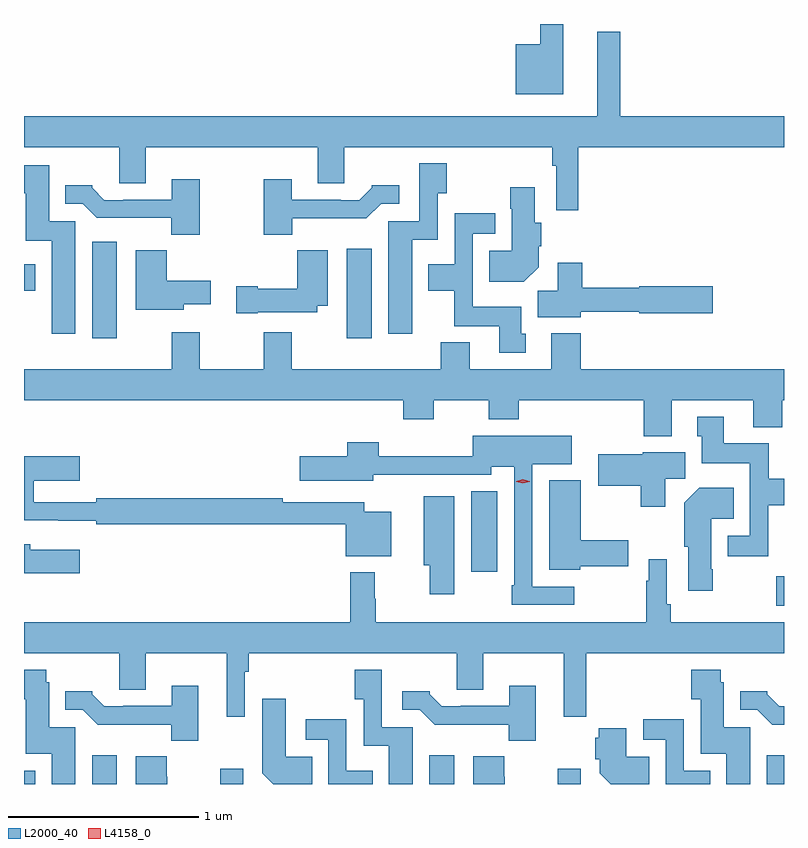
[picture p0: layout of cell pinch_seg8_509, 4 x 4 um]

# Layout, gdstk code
import gdstk
lib = gdstk.Library(unit=1e-6, precision=1e-09)
def R(c, l, rs):  # rectangles x0, y0, x1, y1
    for r in rs: c.add(gdstk.rectangle(r[:2], r[2:], *l))
def P(c, l, *ps):  # polygons
    for p in ps: c.add(gdstk.Polygon(p, *l))
L2000_40 = (2000, 40)
L4158_0 = (4158, 0)

pinch_seg8_509 = lib.new_cell('pinch_seg8_509')
R(pinch_seg8_509, L2000_40, [(217.609,1121.141,217.669,1121.212), (217.967,1121.141,218.098,1121.293), (218.642,1121.141,218.764,1121.221), (219.743,1121.141,219.874,1121.293), (220.418,1121.141,220.54,1121.221), (221.519,1121.141,221.609,1121.293), (221.569,1122.078,221.609,1122.234), (219.962,1122.258,220.099,1122.683), (217.967,1123.488,218.098,1123.996), (219.308,1123.488,219.439,1123.957), (217.609,1123.736,217.669,1123.876)])
P(pinch_seg8_509, L2000_40, [(220.447,1125.141),(220.326,1125.141),(220.326,1125.034),(220.196,1125.034),(220.196,1124.771),(220.447,1124.771)],
  [(220.526,1124.492),(221.609,1124.492),(221.609,1124.656),(220.747,1124.656),(220.747,1125.1),(220.625,1125.1),(220.625,1124.656),(217.609,1124.656),(217.609,1124.492),(218.111,1124.492),(218.111,1124.302),(218.251,1124.302),(218.251,1124.492),(219.155,1124.492),(219.155,1124.302),(219.295,1124.302),(219.295,1124.492),(220.39,1124.492),(220.39,1124.396),(220.41,1124.396),(220.41,1124.16),(220.526,1124.16)],
  [(219.652,1124.006),(219.786,1124.006),(219.786,1124.251),(219.834,1124.251),(219.834,1124.407),(219.69,1124.407),(219.69,1124.103),(219.527,1124.103),(219.527,1123.512),(219.652,1123.512)],
  [(217.879,1124.103),(217.741,1124.103),(217.741,1124.398),(217.609,1124.398),(217.609,1124.251),(217.619,1124.251),(217.619,1124),(217.754,1124),(217.754,1123.512),(217.879,1123.512)],
  [(218.535,1124.323),(218.387,1124.323),(218.387,1124.217),(218.131,1124.217),(218.131,1124.214),(218.032,1124.214),(217.968,1124.278),(217.968,1124.293),(217.826,1124.293),(217.826,1124.196),(217.917,1124.196),(217.993,1124.12),(218.385,1124.12),(218.385,1124.033),(218.535,1124.033)],
  [(219.022,1124.118),(219.411,1124.118),(219.489,1124.196),(219.583,1124.196),(219.583,1124.293),(219.438,1124.293),(219.438,1124.278),(219.374,1124.214),(219.275,1124.214),(219.275,1124.217),(219.019,1124.217),(219.019,1124.323),(218.872,1124.323),(218.872,1124.033),(219.022,1124.033)],
  [(220.318,1123.862),(220.318,1123.972),(220.331,1123.972),(220.331,1124.094),(220.297,1124.094),(220.297,1124.281),(220.168,1124.281),(220.168,1124.168),(220.175,1124.168),(220.175,1123.948),(220.057,1123.948),(220.057,1123.784),(220.24,1123.784)],
  [(220.249,1123.512),(220.225,1123.512),(220.225,1123.654),(219.972,1123.654),(219.972,1124.037),(220.09,1124.037),(220.09,1124.146),(219.876,1124.146),(219.876,1123.876),(219.737,1123.876),(219.737,1123.736),(219.874,1123.736),(219.874,1123.55),(220.109,1123.55),(220.109,1123.41),(220.249,1123.41)],
  [(218.839,1123.625),(219.153,1123.625),(219.153,1123.658),(219.208,1123.658),(219.208,1123.951),(219.046,1123.951),(219.046,1123.747),(218.839,1123.747),(218.839,1123.76),(218.727,1123.76),(218.727,1123.618),(218.839,1123.618)],
  [(218.449,1123.667),(218.593,1123.667),(218.593,1123.789),(218.36,1123.789),(218.36,1123.951),(218.198,1123.951),(218.198,1123.637),(218.449,1123.637)],
  [(220.54,1123.626),(220.848,1123.626),(220.848,1123.618),(221.233,1123.618),(221.233,1123.76),(220.848,1123.76),(220.848,1123.754),(220.548,1123.754),(220.548,1123.885),(220.418,1123.885),(220.418,1123.736),(220.313,1123.736),(220.313,1123.598),(220.54,1123.598)],
  [(221.017,1123.16),(221.447,1123.16),(221.447,1123.019),(221.6,1123.019),(221.6,1123.16),(221.609,1123.16),(221.609,1123.324),(220.538,1123.324),(220.538,1123.513),(220.385,1123.513),(220.385,1123.324),(219.955,1123.324),(219.955,1123.465),(219.803,1123.465),(219.803,1123.324),(219.019,1123.324),(219.019,1123.519),(218.872,1123.519),(218.872,1123.324),(218.535,1123.324),(218.535,1123.519),(218.387,1123.519),(218.387,1123.324),(217.609,1123.324),(217.609,1123.16),(219.605,1123.16),(219.605,1123.061),(219.765,1123.061),(219.765,1123.16),(220.054,1123.16),(220.054,1123.061),(220.214,1123.061),(220.214,1123.16),(220.87,1123.16),(220.87,1122.971),(221.017,1122.971)],
  [(221.526,1122.608),(221.609,1122.608),(221.609,1122.748),(221.529,1122.748),(221.529,1122.934),(221.293,1122.934),(221.293,1123.075),(221.153,1123.075),(221.153,1122.972),(221.177,1122.972),(221.177,1122.83),(221.43,1122.83),(221.43,1122.447),(221.313,1122.447),(221.313,1122.339),(221.526,1122.339)],
  [(220.504,1122.18),(220.284,1122.18),(220.284,1122.824),(220.492,1122.824),(220.492,1122.973),(219.972,1122.973),(219.972,1122.866),(219.476,1122.866),(219.476,1122.94),(219.311,1122.94),(219.311,1122.867),(219.06,1122.867),(219.06,1122.737),(219.448,1122.737),(219.448,1122.768),(220.068,1122.768),(220.068,1122.812),(220.188,1122.812),(220.188,1122.187),(220.176,1122.187),(220.176,1122.084),(220.504,1122.084)],
  [(220.984,1122.748),(221.089,1122.748),(221.089,1122.886),(220.866,1122.886),(220.866,1122.877),(220.632,1122.877),(220.632,1122.712),(220.855,1122.712),(220.855,1122.6),(220.984,1122.6)],
  [(219.541,1122.574),(219.399,1122.574),(219.399,1122.624),(218.972,1122.624),(218.972,1122.644),(217.99,1122.644),(217.99,1122.624),(217.661,1122.624),(217.661,1122.737),(217.903,1122.737),(217.903,1122.867),(217.609,1122.867),(217.609,1122.528),(217.79,1122.528),(217.79,1122.527),(217.99,1122.527),(217.99,1122.508),(219.303,1122.508),(219.303,1122.341),(219.541,1122.341)],
  [(220.536,1122.286),(220.789,1122.286),(220.789,1122.423),(220.54,1122.423),(220.54,1122.739),(220.373,1122.739),(220.373,1122.269),(220.536,1122.269)],
  [(221.235,1122.271),(221.227,1122.271),(221.227,1122.536),(221.345,1122.536),(221.345,1122.7),(221.162,1122.7),(221.084,1122.622),(221.084,1122.39),(221.105,1122.39),(221.105,1122.159),(221.235,1122.159)],
  [(219.874,1122.655),(219.713,1122.655),(219.713,1122.293),(219.745,1122.293),(219.745,1122.141),(219.874,1122.141)],
  [(217.903,1122.373),(217.642,1122.373),(217.642,1122.402),(217.609,1122.402),(217.609,1122.251),(217.903,1122.251)],
  [(218.772,1121.732),(218.792,1121.732),(218.792,1121.828),(219.887,1121.828),(219.887,1121.638),(220.027,1121.638),(220.027,1121.828),(220.451,1121.828),(220.451,1121.496),(220.568,1121.496),(220.568,1121.828),(221.609,1121.828),(221.609,1121.992),(221.012,1121.992),(221.012,1122.088),(220.992,1122.088),(220.992,1122.325),(220.896,1122.325),(220.896,1122.212),(220.884,1122.212),(220.884,1121.992),(219.461,1121.992),(219.461,1122.116),(219.454,1122.116),(219.454,1122.256),(219.325,1122.256),(219.325,1121.992),(217.609,1121.992),(217.609,1121.828),(218.111,1121.828),(218.111,1121.638),(218.251,1121.638),(218.251,1121.828),(218.675,1121.828),(218.675,1121.496),(218.772,1121.496)],
  [(217.879,1121.439),(217.741,1121.439),(217.741,1121.676),(217.725,1121.676),(217.725,1121.743),(217.609,1121.743),(217.609,1121.587),(217.619,1121.587),(217.619,1121.3),(217.754,1121.3),(217.754,1121.141),(217.879,1121.141)],
  [(219.655,1121.439),(219.492,1121.439),(219.492,1121.743),(219.349,1121.743),(219.349,1121.587),(219.396,1121.587),(219.396,1121.342),(219.53,1121.342),(219.53,1121.141),(219.655,1121.141)],
  [(221.431,1121.439),(221.293,1121.439),(221.293,1121.676),(221.277,1121.676),(221.277,1121.743),(221.12,1121.743),(221.12,1121.587),(221.171,1121.587),(221.171,1121.3),(221.306,1121.3),(221.306,1121.141),(221.431,1121.141)],
  [(218.527,1121.659),(218.387,1121.659),(218.387,1121.553),(218.131,1121.553),(218.131,1121.55),(218.032,1121.55),(217.968,1121.614),(217.968,1121.629),(217.826,1121.629),(217.826,1121.532),(217.917,1121.532),(217.996,1121.454),(218.385,1121.454),(218.385,1121.369),(218.527,1121.369)],
  [(220.303,1121.659),(220.163,1121.659),(220.163,1121.553),(219.907,1121.553),(219.907,1121.55),(219.808,1121.55),(219.744,1121.614),(219.744,1121.629),(219.6,1121.629),(219.6,1121.532),(219.693,1121.532),(219.772,1121.454),(220.161,1121.454),(220.161,1121.369),(220.303,1121.369)],
  [(221.609,1121.55),(221.584,1121.55),(221.52,1121.614),(221.52,1121.629),(221.378,1121.629),(221.378,1121.532),(221.469,1121.532),(221.548,1121.454),(221.609,1121.454)],
  [(219.125,1121.284),(218.986,1121.284),(218.986,1121.59),(218.864,1121.59),(218.864,1121.198),(218.921,1121.141),(219.125,1121.141)],
  [(219.445,1121.212),(219.306,1121.212),(219.306,1121.482),(219.093,1121.482),(219.093,1121.373),(219.21,1121.373),(219.21,1121.141),(219.445,1121.141)],
  [(221.221,1121.212),(221.082,1121.212),(221.082,1121.482),(220.869,1121.482),(220.869,1121.373),(220.986,1121.373),(220.986,1121.141),(221.221,1121.141)],
  [(220.901,1121.284),(220.78,1121.284),(220.78,1121.434),(220.633,1121.434),(220.633,1121.385),(220.615,1121.385),(220.615,1121.271),(220.64,1121.271),(220.64,1121.198),(220.697,1121.141),(220.901,1121.141)],
  [(218.362,1121.18),(218.36,1121.18),(218.36,1121.287),(218.198,1121.287),(218.198,1121.141),(218.362,1121.141)],
  [(220.138,1121.18),(220.136,1121.18),(220.136,1121.287),(219.974,1121.287),(219.974,1121.141),(220.138,1121.141)])
P(pinch_seg8_509, L4158_0, [(220.235,1122.724),(220.2,1122.733),(220.2,1122.734),(220.2,1122.734),(220.235,1122.744),(220.27,1122.734),(220.27,1122.734),(220.27,1122.733)])

lib.write_gds('pinch_seg8_509.gds')
